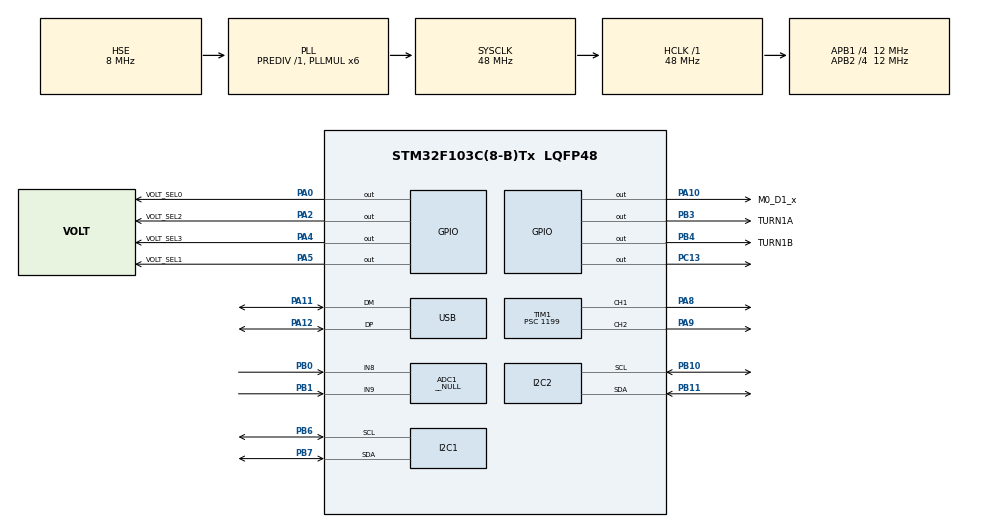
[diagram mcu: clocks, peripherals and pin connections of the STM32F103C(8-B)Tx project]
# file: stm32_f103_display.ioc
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ADC1.Channel-12\#ChannelRegularConversion=ADC_CHANNEL_8
ADC1.Channel-14\#ChannelRegularConversion=ADC_CHANNEL_9
ADC1.ContinuousConvMode=DISABLE
ADC1.DiscontinuousConvMode=DISABLE
ADC1.EnableInjectedConversion=DISABLE
ADC1.EnableRegularConversion=ENABLE
ADC1.ExternalTrigConv=ADC_EXTERNALTRIGCONV_T3_TRGO
ADC1.ExternalTrigInjecConv=ADC_INJECTED_SOFTWARE_START
ADC1.InjNumberOfConversion=2
ADC1.Mode=__NULL
ADC1.NbrOfConversion=2
ADC1.NbrOfConversionFlag=1
ADC1.Rank-12\#ChannelRegularConversion=1
ADC1.Rank-14\#ChannelRegularConversion=2
ADC1.SamplingTime-12\#ChannelRegularConversion=ADC_SAMPLETIME_28CYCLES_5
ADC1.SamplingTime-14\#ChannelRegularConversion=ADC_SAMPLETIME_28CYCLES_5
ADC1.master=1
Dma.ADC1.0.Direction=DMA_PERIPH_TO_MEMORY
Dma.ADC1.0.Instance=DMA1_Channel1
Dma.ADC1.0.MemDataAlignment=DMA_MDATAALIGN_HALFWORD
Dma.ADC1.0.MemInc=DMA_MINC_ENABLE
Dma.ADC1.0.Mode=DMA_CIRCULAR
Dma.ADC1.0.PeriphDataAlignment=DMA_PDATAALIGN_HALFWORD
Dma.ADC1.0.PeriphInc=DMA_PINC_DISABLE
Dma.ADC1.0.Priority=DMA_PRIORITY_LOW
Dma.Request0=ADC1
FREERTOS.HEAP_NUMBER=1
FREERTOS.Tasks01=ctrlTask,24,256,StartCtrlTask,Default,NULL,Static,ctrlTaskBuffer,ctrlTaskControlBlock
FREERTOS.configCHECK_FOR_STACK_OVERFLOW=0
FREERTOS.configENABLE_BACKWARD_COMPATIBILITY=0
FREERTOS.configGENERATE_RUN_TIME_STATS=0
FREERTOS.configTICK_RATE_HZ=1000
FREERTOS.configTIMER_TASK_STACK_DEPTH=128
FREERTOS.configTOTAL_HEAP_SIZE=2048
FREERTOS.configUSE_MALLOC_FAILED_HOOK=1
FREERTOS.configUSE_TRACE_FACILITY=0
Mcu.Family=STM32F1
Mcu.Name=STM32F103C(8-B)Tx
Mcu.Package=LQFP48
Mcu.UserConstants=COMMAND_INT_MAX_OUTPUT_SIZE,2096
NVIC.ADC1_2_IRQn=true\:7\:0\:true\:true\:true\:1\:false\:true\:true
NVIC.DMA1_Channel1_IRQn=true\:7\:0\:true\:true\:true\:2\:true\:false\:true
NVIC.PriorityGroup=NVIC_PRIORITYGROUP_4
NVIC.TIM4_IRQn=true\:0\:0\:false\:false\:true\:false\:false\:true
NVIC.TimeBase=TIM4_IRQn
NVIC.TimeBaseIP=TIM4
NVIC.USB_LP_CAN1_RX0_IRQn=true\:5\:0\:true\:false\:true\:true\:false\:true
PA0-WKUP.GPIO_Label=VOLT_SEL0
PA0-WKUP.Signal=GPIO_Output
PA10.GPIO_Label=M0_D1_x
PA10.Signal=GPIO_Output
PA11.Mode=Device
PA11.Signal=USB_DM
PA12.Mode=Device
PA12.Signal=USB_DP
PA13.Mode=Serial_Wire
PA13.Signal=SYS_JTMS-SWDIO
PA14.Mode=Serial_Wire
PA14.Signal=SYS_JTCK-SWCLK
PA2.GPIO_Label=VOLT_SEL2
PA2.Signal=GPIO_Output
PA4.GPIO_Label=VOLT_SEL3
PA4.Signal=GPIO_Output
PA5.GPIO_Label=VOLT_SEL1
PA5.Signal=GPIO_Output
PA8.Signal=S_TIM1_CH1
PA9.Signal=S_TIM1_CH2
PB0.Signal=ADCx_IN8
PB1.Signal=ADCx_IN9
PB10.Mode=I2C
PB10.Signal=I2C2_SCL
PB11.Mode=I2C
PB11.Signal=I2C2_SDA
PB3.GPIO_Label=TURN1A
PB3.Signal=GPIO_Output
PB4.GPIO_Label=TURN1B
PB4.Signal=GPIO_Output
PB6.Mode=I2C
PB6.Signal=I2C1_SCL
PB7.Mode=I2C
PB7.Signal=I2C1_SDA
PC13-TAMPER-RTC.Signal=GPIO_Output
PC14-OSC32_IN.Mode=LSE-External-Oscillator
PC14-OSC32_IN.Signal=RCC_OSC32_IN
PC15-OSC32_OUT.Mode=LSE-External-Oscillator
PC15-OSC32_OUT.Signal=RCC_OSC32_OUT
PD0-OSC_IN.Mode=HSE-External-Oscillator
PD0-OSC_IN.Signal=RCC_OSC_IN
PD1-OSC_OUT.Mode=HSE-External-Oscillator
PD1-OSC_OUT.Signal=RCC_OSC_OUT
ProjectManager.HeapSize=0x200
ProjectManager.StackSize=0x400
ProjectManager.TargetToolchain=STM32CubeIDE
RCC.AHBFreq_Value=48000000
RCC.APB1CLKDivider=RCC_HCLK_DIV4
RCC.APB1Freq_Value=12000000
RCC.APB1TimFreq_Value=24000000
RCC.APB2CLKDivider=RCC_HCLK_DIV4
RCC.APB2Freq_Value=12000000
RCC.APB2TimFreq_Value=24000000
RCC.HCLKFreq_Value=48000000
RCC.PLLMUL=RCC_PLL_MUL6
RCC.PLLSourceVirtual=RCC_PLLSOURCE_HSE
RCC.SYSCLKFreq_VALUE=48000000
RCC.SYSCLKSource=RCC_SYSCLKSOURCE_PLLCLK
RCC.USBFreq_Value=48000000
SH.ADCx_IN8.0=ADC1_IN8,IN8
SH.ADCx_IN9.0=ADC1_IN9,IN9
SH.S_TIM1_CH1.0=TIM1_CH1,PWM Generation1 CH1
SH.S_TIM1_CH2.0=TIM1_CH2,PWM Generation2 CH2
TIM1.AutoReloadPreload=TIM_AUTORELOAD_PRELOAD_ENABLE
TIM1.Channel-PWM\ Generation1\ CH1=TIM_CHANNEL_1
TIM1.Channel-PWM\ Generation2\ CH2=TIM_CHANNEL_2
TIM1.CounterMode=TIM_COUNTERMODE_CENTERALIGNED3
TIM1.Period=200
TIM1.Prescaler=1199
TIM1.Pulse-PWM\ Generation1\ CH1=0
TIM1.TIM_MasterOutputTrigger=TIM_TRGO_UPDATE
TIM1.TIM_MasterSlaveMode=TIM_MASTERSLAVEMODE_ENABLE
TIM3.AutoReloadPreload=TIM_AUTORELOAD_PRELOAD_ENABLE
TIM3.CounterMode=TIM_COUNTERMODE_UP
TIM3.Period=210
TIM3.Prescaler=1199
TIM3.TIM_MasterOutputTrigger=TIM_TRGO_UPDATE
TIM3.TIM_MasterSlaveMode=TIM_MASTERSLAVEMODE_ENABLE
USB_DEVICE.APP_RX_DATA_SIZE=512
USB_DEVICE.APP_TX_DATA_SIZE=512
USB_DEVICE.CLASS_NAME_FS=CDC
USB_DEVICE.VirtualMode=Cdc
USB_DEVICE.VirtualModeFS=Cdc_FS
VP_FREERTOS_VS_CMSIS_V2.Mode=CMSIS_V2
VP_SYS_VS_tim4.Mode=TIM4
VP_TIM1_VS_ClockSourceINT.Mode=Internal
VP_TIM3_VS_ClockSourceINT.Mode=Internal
VP_TIM3_VS_ClockSourceITR.Mode=TriggerSource_ITR0
VP_TIM3_VS_ControllerModeReset.Mode=Reset Mode
VP_USB_DEVICE_VS_USB_DEVICE_CDC_FS.Mode=CDC_FS
board=custom

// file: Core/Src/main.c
/* USER CODE BEGIN Header */
/**
  ******************************************************************************
  * @file           : main.c
  * @brief          : Main program body
  ******************************************************************************
  * @attention
  *
  * <h2><center>&copy; Copyright (c) 2020 STMicroelectronics.
  * All rights reserved.</center></h2>
  *
  * This software component is licensed by ST under Ultimate Liberty license
  * SLA0044, the "License"; You may not use this file except in compliance with
  * the License. You may obtain a copy of the License at:
  *                             www.st.com/SLA0044
  *
  ******************************************************************************
  */
/* USER CODE END Header */
#include "main.h"
#include "cmsis_os.h"
#include "usb_device.h"

/* USER CODE BEGIN Includes */

#include "../../../disp_tft/ssd1306_tests.h"

/* USER CODE END Includes */

typedef StaticTask_t osStaticThreadDef_t;

ADC_HandleTypeDef hadc1;
DMA_HandleTypeDef hdma_adc1;

I2C_HandleTypeDef hi2c1;
I2C_HandleTypeDef hi2c2;

TIM_HandleTypeDef htim1;
TIM_HandleTypeDef htim3;

/* Definitions for ctrlTask */
osThreadId_t ctrlTaskHandle;
uint32_t ctrlTaskBuffer[ 256 ];
osStaticThreadDef_t ctrlTaskControlBlock;
const osThreadAttr_t ctrlTask_attributes = {
  .name = "ctrlTask",
  .stack_mem = &ctrlTaskBuffer[0],
  .stack_size = sizeof(ctrlTaskBuffer),
  .cb_mem = &ctrlTaskControlBlock,
  .cb_size = sizeof(ctrlTaskControlBlock),
  .priority = (osPriority_t) osPriorityNormal,
};

void SystemClock_Config(void);
static void MX_GPIO_Init(void);
static void MX_DMA_Init(void);
static void MX_TIM1_Init(void);
static void MX_ADC1_Init(void);
static void MX_TIM3_Init(void);
static void MX_I2C1_Init(void);
static void MX_I2C2_Init(void);
void StartCtrlTask(void *argument);

static void MX_NVIC_Init(void);

/* USER CODE BEGIN 0 */

static void i2c_ready(int a)
{

}
static void I2C_Scan(void)
{
    HAL_StatusTypeDef res;
    for(uint16_t i = 0; i < 128; i++) {
        res = HAL_I2C_IsDeviceReady(&hi2c2, i << 1, 1, 10);
        if(res == HAL_OK) {
        	i2c_ready(i);
        } else {
        }
    }
}

/* USER CODE END 0 */

int main(void)
{

  /* MCU Configuration--------------------------------------------------------*/

  /* Reset of all peripherals, Initializes the Flash interface and the Systick. */
  HAL_Init();

  /* Configure the system clock */
  SystemClock_Config();

  /* Initialize all configured peripherals */
  MX_GPIO_Init();
  MX_DMA_Init();
  MX_TIM1_Init();
  MX_ADC1_Init();
  MX_TIM3_Init();
  MX_I2C1_Init();
  MX_I2C2_Init();

  /* Initialize interrupts */
  MX_NVIC_Init();

  /* Init scheduler */
  osKernelInitialize();

  /* Create the thread(s) */
  /* creation of ctrlTask */
  ctrlTaskHandle = osThreadNew(StartCtrlTask, NULL, &ctrlTask_attributes);

  /* Start scheduler */
  osKernelStart();

  /* We should never get here as control is now taken by the scheduler */
  /* Infinite loop */
  while (1)
  {

  }
}

void SystemClock_Config(void)
{
  RCC_OscInitTypeDef RCC_OscInitStruct = {0};
  RCC_ClkInitTypeDef RCC_ClkInitStruct = {0};
  RCC_PeriphCLKInitTypeDef PeriphClkInit = {0};

  /** Initializes the RCC Oscillators according to the specified parameters
  * in the RCC_OscInitTypeDef structure.
  */
  RCC_OscInitStruct.OscillatorType = RCC_OSCILLATORTYPE_HSE;
  RCC_OscInitStruct.HSEState = RCC_HSE_ON;
  RCC_OscInitStruct.HSEPredivValue = RCC_HSE_PREDIV_DIV1;
  RCC_OscInitStruct.HSIState = RCC_HSI_ON;
  RCC_OscInitStruct.PLL.PLLState = RCC_PLL_ON;
  RCC_OscInitStruct.PLL.PLLSource = RCC_PLLSOURCE_HSE;
  RCC_OscInitStruct.PLL.PLLMUL = RCC_PLL_MUL6;
  if (HAL_RCC_OscConfig(&RCC_OscInitStruct) != HAL_OK)
  {
    Error_Handler();
  }
  /** Initializes the CPU, AHB and APB buses clocks
  */
  RCC_ClkInitStruct.ClockType = RCC_CLOCKTYPE_HCLK|RCC_CLOCKTYPE_SYSCLK
                              |RCC_CLOCKTYPE_PCLK1|RCC_CLOCKTYPE_PCLK2;
  RCC_ClkInitStruct.SYSCLKSource = RCC_SYSCLKSOURCE_PLLCLK;
  RCC_ClkInitStruct.AHBCLKDivider = RCC_SYSCLK_DIV1;
  RCC_ClkInitStruct.APB1CLKDivider = RCC_HCLK_DIV4;
  RCC_ClkInitStruct.APB2CLKDivider = RCC_HCLK_DIV4;

  if (HAL_RCC_ClockConfig(&RCC_ClkInitStruct, FLASH_LATENCY_1) != HAL_OK)
  {
    Error_Handler();
  }
  PeriphClkInit.PeriphClockSelection = RCC_PERIPHCLK_ADC|RCC_PERIPHCLK_USB;
  PeriphClkInit.AdcClockSelection = RCC_ADCPCLK2_DIV2;
  PeriphClkInit.UsbClockSelection = RCC_USBCLKSOURCE_PLL;
  if (HAL_RCCEx_PeriphCLKConfig(&PeriphClkInit) != HAL_OK)
  {
    Error_Handler();
  }
}

/**
  * @brief NVIC Configuration.
  * @retval None
  */
static void MX_NVIC_Init(void)
{
  /* ADC1_2_IRQn interrupt configuration */
  HAL_NVIC_SetPriority(ADC1_2_IRQn, 7, 0);
  HAL_NVIC_EnableIRQ(ADC1_2_IRQn);
  /* DMA1_Channel1_IRQn interrupt configuration */
  HAL_NVIC_SetPriority(DMA1_Channel1_IRQn, 7, 0);
  HAL_NVIC_EnableIRQ(DMA1_Channel1_IRQn);
}

static void MX_ADC1_Init(void)
{

  ADC_ChannelConfTypeDef sConfig = {0};

  /** Common config
  */
  hadc1.Instance = ADC1;
  hadc1.Init.ScanConvMode = ADC_SCAN_ENABLE;
  hadc1.Init.ContinuousConvMode = DISABLE;
  hadc1.Init.DiscontinuousConvMode = DISABLE;
  hadc1.Init.ExternalTrigConv = ADC_EXTERNALTRIGCONV_T3_TRGO;
  hadc1.Init.DataAlign = ADC_DATAALIGN_RIGHT;
  hadc1.Init.NbrOfConversion = 2;
  if (HAL_ADC_Init(&hadc1) != HAL_OK)
  {
    Error_Handler();
  }
  /** Configure Regular Channel
  */
  sConfig.Channel = ADC_CHANNEL_8;
  sConfig.Rank = ADC_REGULAR_RANK_1;
  sConfig.SamplingTime = ADC_SAMPLETIME_28CYCLES_5;
  if (HAL_ADC_ConfigChannel(&hadc1, &sConfig) != HAL_OK)
  {
    Error_Handler();
  }
  /** Configure Regular Channel
  */
  sConfig.Channel = ADC_CHANNEL_9;
  sConfig.Rank = ADC_REGULAR_RANK_2;
  if (HAL_ADC_ConfigChannel(&hadc1, &sConfig) != HAL_OK)
  {
    Error_Handler();
  }

}

static void MX_I2C1_Init(void)
{

  hi2c1.Instance = I2C1;
  hi2c1.Init.ClockSpeed = 100000;
  hi2c1.Init.DutyCycle = I2C_DUTYCYCLE_2;
  hi2c1.Init.OwnAddress1 = 0;
  hi2c1.Init.AddressingMode = I2C_ADDRESSINGMODE_7BIT;
  hi2c1.Init.DualAddressMode = I2C_DUALADDRESS_DISABLE;
  hi2c1.Init.OwnAddress2 = 0;
  hi2c1.Init.GeneralCallMode = I2C_GENERALCALL_DISABLE;
  hi2c1.Init.NoStretchMode = I2C_NOSTRETCH_DISABLE;
  if (HAL_I2C_Init(&hi2c1) != HAL_OK)
  {
    Error_Handler();
  }

}

static void MX_I2C2_Init(void)
{

  hi2c2.Instance = I2C2;
  hi2c2.Init.ClockSpeed = 100000;
  hi2c2.Init.DutyCycle = I2C_DUTYCYCLE_2;
  hi2c2.Init.OwnAddress1 = 0;
  hi2c2.Init.AddressingMode = I2C_ADDRESSINGMODE_7BIT;
  hi2c2.Init.DualAddressMode = I2C_DUALADDRESS_DISABLE;
  hi2c2.Init.OwnAddress2 = 0;
  hi2c2.Init.GeneralCallMode = I2C_GENERALCALL_DISABLE;
  hi2c2.Init.NoStretchMode = I2C_NOSTRETCH_DISABLE;
  if (HAL_I2C_Init(&hi2c2) != HAL_OK)
  {
    Error_Handler();
  }

}

static void MX_TIM1_Init(void)
{

  TIM_ClockConfigTypeDef sClockSourceConfig = {0};
  TIM_MasterConfigTypeDef sMasterConfig = {0};
  TIM_OC_InitTypeDef sConfigOC = {0};
  TIM_BreakDeadTimeConfigTypeDef sBreakDeadTimeConfig = {0};

  htim1.Instance = TIM1;
  htim1.Init.Prescaler = 1199;
  htim1.Init.CounterMode = TIM_COUNTERMODE_CENTERALIGNED3;
  htim1.Init.Period = 200;
  htim1.Init.ClockDivision = TIM_CLOCKDIVISION_DIV1;
  htim1.Init.RepetitionCounter = 0;
  htim1.Init.AutoReloadPreload = TIM_AUTORELOAD_PRELOAD_ENABLE;
  if (HAL_TIM_Base_Init(&htim1) != HAL_OK)
  {
    Error_Handler();
  }
  sClockSourceConfig.ClockSource = TIM_CLOCKSOURCE_INTERNAL;
  if (HAL_TIM_ConfigClockSource(&htim1, &sClockSourceConfig) != HAL_OK)
  {
    Error_Handler();
  }
  if (HAL_TIM_PWM_Init(&htim1) != HAL_OK)
  {
    Error_Handler();
  }
  sMasterConfig.MasterOutputTrigger = TIM_TRGO_UPDATE;
  sMasterConfig.MasterSlaveMode = TIM_MASTERSLAVEMODE_ENABLE;
  if (HAL_TIMEx_MasterConfigSynchronization(&htim1, &sMasterConfig) != HAL_OK)
  {
    Error_Handler();
  }
  sConfigOC.OCMode = TIM_OCMODE_PWM1;
  sConfigOC.Pulse = 0;
  sConfigOC.OCPolarity = TIM_OCPOLARITY_HIGH;
  sConfigOC.OCNPolarity = TIM_OCNPOLARITY_HIGH;
  sConfigOC.OCFastMode = TIM_OCFAST_DISABLE;
  sConfigOC.OCIdleState = TIM_OCIDLESTATE_RESET;
  sConfigOC.OCNIdleState = TIM_OCNIDLESTATE_RESET;
  if (HAL_TIM_PWM_ConfigChannel(&htim1, &sConfigOC, TIM_CHANNEL_1) != HAL_OK)
  {
    Error_Handler();
  }
  if (HAL_TIM_PWM_ConfigChannel(&htim1, &sConfigOC, TIM_CHANNEL_2) != HAL_OK)
  {
    Error_Handler();
  }
  sBreakDeadTimeConfig.OffStateRunMode = TIM_OSSR_DISABLE;
  sBreakDeadTimeConfig.OffStateIDLEMode = TIM_OSSI_DISABLE;
  sBreakDeadTimeConfig.LockLevel = TIM_LOCKLEVEL_OFF;
  sBreakDeadTimeConfig.DeadTime = 0;
  sBreakDeadTimeConfig.BreakState = TIM_BREAK_DISABLE;
  sBreakDeadTimeConfig.BreakPolarity = TIM_BREAKPOLARITY_HIGH;
  sBreakDeadTimeConfig.AutomaticOutput = TIM_AUTOMATICOUTPUT_DISABLE;
  if (HAL_TIMEx_ConfigBreakDeadTime(&htim1, &sBreakDeadTimeConfig) != HAL_OK)
  {
    Error_Handler();
  }
  HAL_TIM_MspPostInit(&htim1);

}

static void MX_TIM3_Init(void)
{

  TIM_ClockConfigTypeDef sClockSourceConfig = {0};
  TIM_SlaveConfigTypeDef sSlaveConfig = {0};
  TIM_MasterConfigTypeDef sMasterConfig = {0};

  htim3.Instance = TIM3;
  htim3.Init.Prescaler = 1199;
  htim3.Init.CounterMode = TIM_COUNTERMODE_UP;
  htim3.Init.Period = 210;
  htim3.Init.ClockDivision = TIM_CLOCKDIVISION_DIV1;
  htim3.Init.AutoReloadPreload = TIM_AUTORELOAD_PRELOAD_ENABLE;
  if (HAL_TIM_Base_Init(&htim3) != HAL_OK)
  {
    Error_Handler();
  }
  sClockSourceConfig.ClockSource = TIM_CLOCKSOURCE_INTERNAL;
  if (HAL_TIM_ConfigClockSource(&htim3, &sClockSourceConfig) != HAL_OK)
  {
    Error_Handler();
  }
  sSlaveConfig.SlaveMode = TIM_SLAVEMODE_RESET;
  sSlaveConfig.InputTrigger = TIM_TS_ITR0;
  if (HAL_TIM_SlaveConfigSynchro(&htim3, &sSlaveConfig) != HAL_OK)
  {
    Error_Handler();
  }
  sMasterConfig.MasterOutputTrigger = TIM_TRGO_UPDATE;
  sMasterConfig.MasterSlaveMode = TIM_MASTERSLAVEMODE_ENABLE;
  if (HAL_TIMEx_MasterConfigSynchronization(&htim3, &sMasterConfig) != HAL_OK)
  {
    Error_Handler();
  }

}

static void MX_DMA_Init(void)
{

  /* DMA controller clock enable */
  __HAL_RCC_DMA1_CLK_ENABLE();

}

static void MX_GPIO_Init(void)
{
  GPIO_InitTypeDef GPIO_InitStruct = {0};

  /* GPIO Ports Clock Enable */
  __HAL_RCC_GPIOC_CLK_ENABLE();
  __HAL_RCC_GPIOD_CLK_ENABLE();
  __HAL_RCC_GPIOA_CLK_ENABLE();
  __HAL_RCC_GPIOB_CLK_ENABLE();

  /*Configure GPIO pin Output Level */
  HAL_GPIO_WritePin(GPIOC, GPIO_PIN_13, GPIO_PIN_RESET);

  /*Configure GPIO pin Output Level */
  HAL_GPIO_WritePin(GPIOA, VOLT_SEL0_Pin|VOLT_SEL2_Pin|VOLT_SEL3_Pin|VOLT_SEL1_Pin
                          |M0_D1_x_Pin, GPIO_PIN_RESET);

  /*Configure GPIO pin Output Level */
  HAL_GPIO_WritePin(GPIOB, TURN1A_Pin|TURN1B_Pin, GPIO_PIN_RESET);

  /*Configure GPIO pin : PC13 */
  GPIO_InitStruct.Pin = GPIO_PIN_13;
  GPIO_InitStruct.Mode = GPIO_MODE_OUTPUT_PP;
  GPIO_InitStruct.Pull = GPIO_NOPULL;
  GPIO_InitStruct.Speed = GPIO_SPEED_FREQ_LOW;
  HAL_GPIO_Init(GPIOC, &GPIO_InitStruct);

  /*Configure GPIO pins : VOLT_SEL0_Pin VOLT_SEL2_Pin VOLT_SEL3_Pin VOLT_SEL1_Pin
                           M0_D1_x_Pin */
  GPIO_InitStruct.Pin = VOLT_SEL0_Pin|VOLT_SEL2_Pin|VOLT_SEL3_Pin|VOLT_SEL1_Pin
                          |M0_D1_x_Pin;
  GPIO_InitStruct.Mode = GPIO_MODE_OUTPUT_PP;
  GPIO_InitStruct.Pull = GPIO_NOPULL;
  GPIO_InitStruct.Speed = GPIO_SPEED_FREQ_LOW;
  HAL_GPIO_Init(GPIOA, &GPIO_InitStruct);

  /*Configure GPIO pins : TURN1A_Pin TURN1B_Pin */
  GPIO_InitStruct.Pin = TURN1A_Pin|TURN1B_Pin;
  GPIO_InitStruct.Mode = GPIO_MODE_OUTPUT_PP;
  GPIO_InitStruct.Pull = GPIO_NOPULL;
  GPIO_InitStruct.Speed = GPIO_SPEED_FREQ_LOW;
  HAL_GPIO_Init(GPIOB, &GPIO_InitStruct);

}

void StartCtrlTask(void *argument)
{
  /* init code for USB_DEVICE */
  MX_USB_DEVICE_Init();
  /* USER CODE BEGIN 5 */
  /* Infinite loop */

  I2C_Scan();
  osDelay(100);
  for(;;)  {
	  HAL_GPIO_TogglePin(GPIOC, GPIO_PIN_13);
	  ssd1306_TestAll();
	  osDelay(1000);
  }
  /* USER CODE END 5 */
}

void HAL_TIM_PeriodElapsedCallback(TIM_HandleTypeDef *htim)
{
  if (htim->Instance == TIM4) {
    HAL_IncTick();
  }
}

void Error_Handler(void)
{
}

/************************ (C) COPYRIGHT STMicroelectronics *****END OF FILE****/
